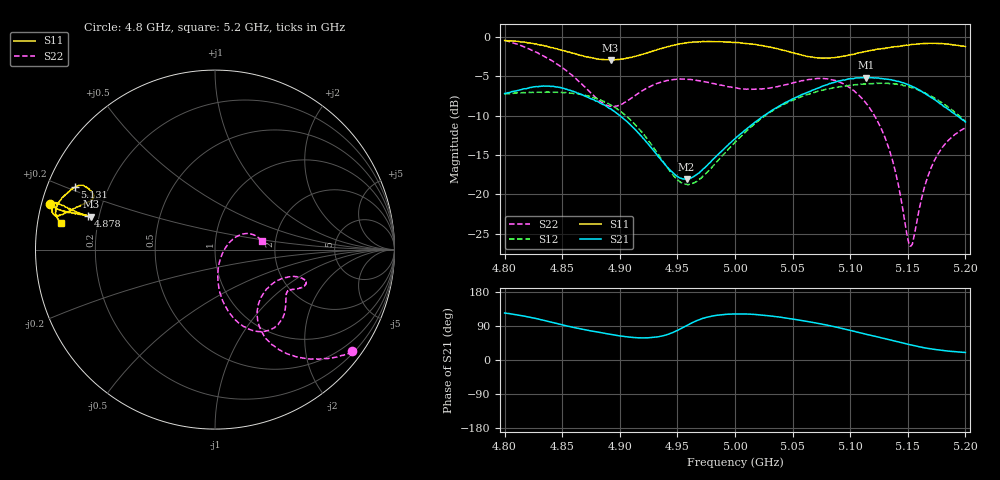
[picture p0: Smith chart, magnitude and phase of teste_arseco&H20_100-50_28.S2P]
! Network Analyzer HP8722D
! Hewlett-Packard
! Data name: Linha & Wilkinson
! Saver's name: Rodrigo Anjos
! Comments: Teste da utilização de aquisição
! continua pelo VNA HP8722D
! Time and date: 6/5/2025 12:48
!  Frequency  S11  S21  S12  S22
# HZ  S  MA R 50
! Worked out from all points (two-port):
!   401 points, 4.8 GHz to 5.2 GHz, reference 50 ohm
!   highest |S21| = -5.14 dB at 5.114 GHz (marker M1); lowest = -18.1 dB at 4.958 GHz (marker M2)
!   |S21| within 3 dB of the highest: start of sweep to 4.88 GHz; 5.046 GHz to 5.175 GHz (128.7 MHz wide, 2.52 % of centre)
!   lowest |S11| = -2.9 dB at 4.892 GHz (marker M3), VSWR 6.04, Z = 8.41 + j6.35 ohm
!   |S11| at or under -10 dB: nowhere
!   |S22| runs from -26.6 to -0.4 dB; largest |S21 - S12| = 0.71
!   S11 on the Smith chart (normalised r, x): 4.8 GHz: 0.02, +0.14; 4.878 GHz: 0.16, +0.13; 5.131 GHz: 0.08, +0.21; 5.2 GHz: 0.07, +0.09
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4.8e9  0.9538 164.4  0.438 124.1  0.4354 19.2  0.9535 -36.5
4.834e9  0.8831 165.7  0.4896 104.7  0.4473 8.6  0.7571 -52.2
4.867e9  0.7646 165.3  0.4314 81.5  0.4303 -5.2  0.5036 -60.1
4.878e9  0.7334 165.1  0.3986 75.3  0.4109 -11.4  0.42 -56.0
4.892e9  0.7161 165.1  0.3509 67.7  0.3696 -20.0  0.3631 -41.4
4.911e9  0.7483 165.1  0.2691 59.6  0.2894 -30.5  0.4144 -22.6
4.934e9  0.8399 164.3  0.1718 61.6  0.1772 -32.7  0.512 -18.3
4.958e9  0.9211 163.6  0.1249 90.9  0.1158 -1.8  0.539 -21.5
5e9  0.9268 167.3  0.2259 121.4  0.2146 39.9  0.4756 -28.0
5.034e9  0.854 165.9  0.349 114.9  0.3452 36.0  0.4805 -34.6
5.067e9  0.7493 158.7  0.4596 99.5  0.4422 21.9  0.5412 -47.6
5.092e9  0.7521 155.1  0.5295 83.8  0.4859 8.0  0.5137 -62.6
5.114e9  0.8142 154.0  0.5533 67.7  0.5036 -4.9  0.3777 -76.0
5.131e9  0.8543 156.0  0.5424 55.6  0.5093 -16.0  0.2218 -84.1
5.134e9  0.8576 156.3  0.5375 53.7  0.5067 -17.9  0.1917 -84.6
5.141e9  0.8739 158.0  0.5243 48.5  0.501 -22.8  0.1222 -82.3
5.15e9  0.8886 160.2  0.4997 41.6  0.4857 -28.9  0.0521 -48.6
5.153e9  0.8974 161.0  0.4897 39.7  0.478 -31.0  0.04699 -19.0
5.164e9  0.9126 163.9  0.4422 32.6  0.4449 -37.9  0.108 29.5
5.172e9  0.9149 165.6  0.4065 28.6  0.4152 -42.1  0.1576 30.5
5.184e9  0.9044 167.8  0.3526 23.9  0.364 -47.5  0.2155 24.0
5.2e9  0.8725 170.1  0.2888 19.9  0.2921 -52.1  0.2647 10.2
